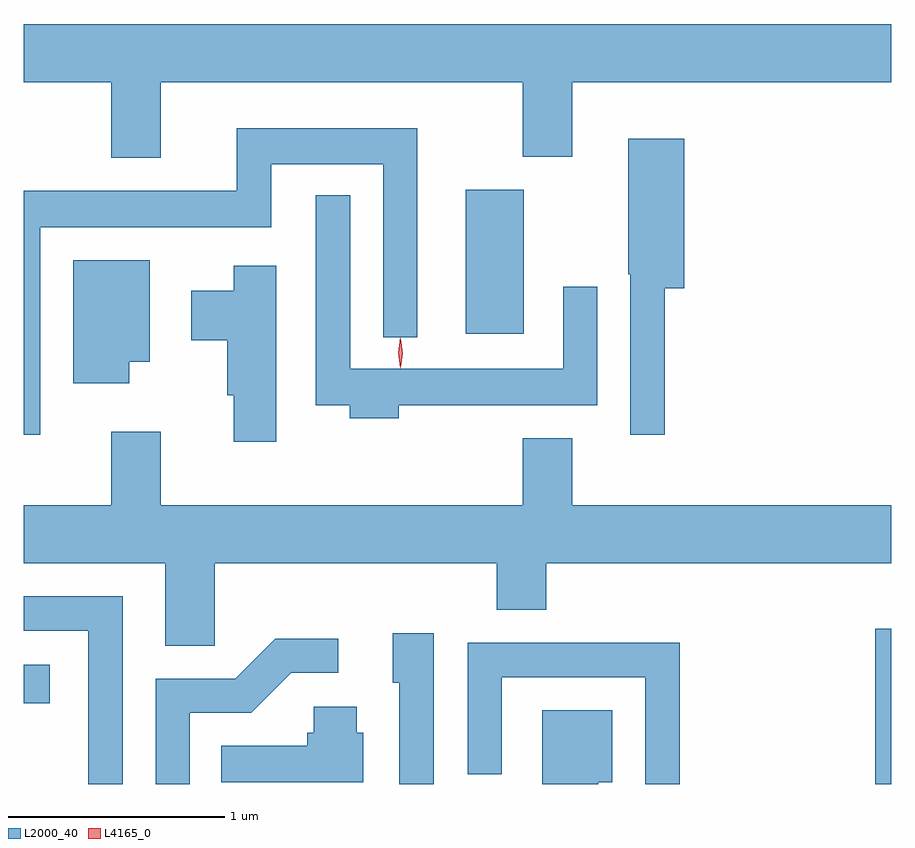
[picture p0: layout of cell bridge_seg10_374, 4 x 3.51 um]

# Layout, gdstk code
import gdstk
lib = gdstk.Library(unit=1e-6, precision=1e-09)
def R(c, l, rs):  # rectangles x0, y0, x1, y1
    for r in rs: c.add(gdstk.rectangle(r[:2], r[2:], *l))
def P(c, l, *ps):  # polygons
    for p in ps: c.add(gdstk.Polygon(p, *l))
L2000_40 = (2000, 40)
L4165_0 = (4165, 0)

bridge_seg10_374 = lib.new_cell('bridge_seg10_374')
R(bridge_seg10_374, L2000_40, [(1373.396,2097.358,1373.469,2098.074), (1369.469,2097.731,1369.589,2097.909), (1371.506,2099.436,1371.774,2100.099)])
P(bridge_seg10_374, L2000_40, [(1370.099,2100.596),(1371.771,2100.596),(1371.771,2100.251),(1371.999,2100.251),(1371.999,2100.596),(1373.469,2100.596),(1373.469,2100.864),(1369.469,2100.864),(1369.469,2100.596),(1369.871,2100.596),(1369.871,2100.246),(1370.099,2100.246)],
  [(1369.544,2099.926),(1370.609,2099.926),(1370.609,2100.216),(1371.126,2100.216),(1371.126,2099.418),(1371.284,2099.418),(1371.284,2100.384),(1370.451,2100.384),(1370.451,2100.094),(1369.469,2100.094),(1369.469,2098.968),(1369.544,2098.968)],
  [(1372.424,2099.646),(1372.514,2099.646),(1372.514,2100.334),(1372.256,2100.334),(1372.256,2099.71),(1372.266,2099.71),(1372.266,2098.968),(1372.424,2098.968)],
  [(1371.199,2099.106),(1372.114,2099.106),(1372.114,2099.653),(1371.956,2099.653),(1371.956,2099.274),(1370.974,2099.274),(1370.974,2100.073),(1370.816,2100.073),(1370.816,2099.106),(1370.971,2099.106),(1370.971,2099.046),(1371.199,2099.046)],
  [(1369.954,2099.306),(1370.049,2099.306),(1370.049,2099.774),(1369.696,2099.774),(1369.696,2099.206),(1369.954,2099.206)],
  [(1370.634,2099.749),(1370.436,2099.749),(1370.436,2099.634),(1370.241,2099.634),(1370.241,2099.406),(1370.406,2099.406),(1370.406,2099.151),(1370.436,2099.151),(1370.436,2098.936),(1370.634,2098.936)],
  [(1370.349,2098.376),(1371.651,2098.376),(1371.651,2098.161),(1371.879,2098.161),(1371.879,2098.376),(1373.469,2098.376),(1373.469,2098.644),(1371.999,2098.644),(1371.999,2098.954),(1371.771,2098.954),(1371.771,2098.644),(1370.099,2098.644),(1370.099,2098.984),(1369.871,2098.984),(1369.871,2098.644),(1369.469,2098.644),(1369.469,2098.376),(1370.121,2098.376),(1370.121,2097.996),(1370.349,2097.996)],
  [(1369.924,2098.224),(1369.469,2098.224),(1369.469,2098.066),(1369.766,2098.066),(1369.766,2097.358),(1369.924,2097.358)],
  [(1371.359,2098.054),(1371.171,2098.054),(1371.171,2097.826),(1371.201,2097.826),(1371.201,2097.358),(1371.359,2097.358)],
  [(1370.234,2097.686),(1370.517,2097.686),(1370.702,2097.871),(1370.918,2097.871),(1370.918,2098.029),(1370.629,2098.029),(1370.444,2097.844),(1370.076,2097.844),(1370.076,2097.358),(1370.234,2097.358)],
  [(1372.494,2098.009),(1371.516,2098.009),(1371.516,2097.403),(1371.674,2097.403),(1371.674,2097.851),(1372.336,2097.851),(1372.336,2097.358),(1372.494,2097.358)],
  [(1371.034,2097.594),(1371.004,2097.594),(1371.004,2097.714),(1370.806,2097.714),(1370.806,2097.594),(1370.776,2097.594),(1370.776,2097.534),(1370.378,2097.534),(1370.378,2097.366),(1371.034,2097.366)],
  [(1372.119,2097.366),(1372.184,2097.366),(1372.184,2097.699),(1371.861,2097.699),(1371.861,2097.358),(1372.119,2097.358)])
P(bridge_seg10_374, L4165_0, [(1371.205,2099.277),(1371.204,2099.278),(1371.195,2099.347),(1371.204,2099.416),(1371.205,2099.416),(1371.205,2099.416),(1371.215,2099.347),(1371.205,2099.278)],
  [(1371.207,2099.28),(1371.207,2099.28),(1371.197,2099.346),(1371.207,2099.412),(1371.207,2099.413),(1371.208,2099.412),(1371.217,2099.346),(1371.208,2099.28)])

lib.write_gds('bridge_seg10_374.gds')
